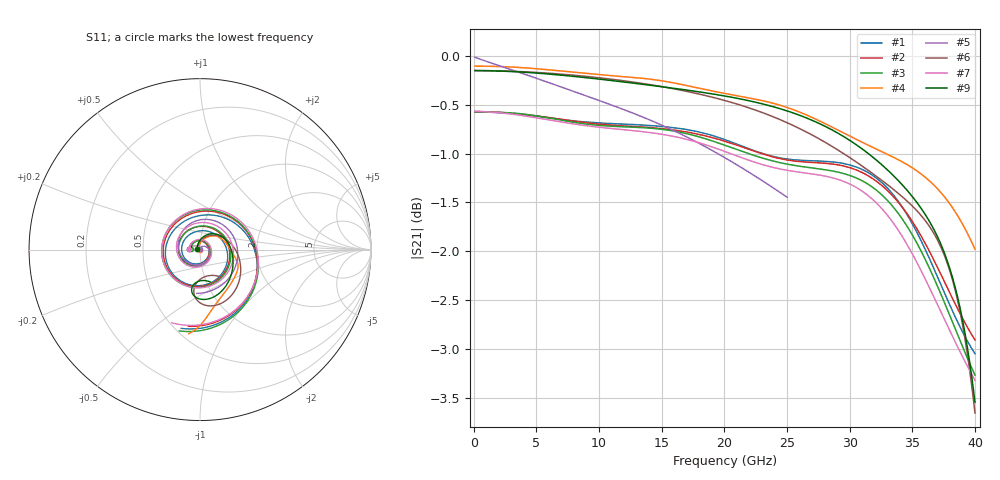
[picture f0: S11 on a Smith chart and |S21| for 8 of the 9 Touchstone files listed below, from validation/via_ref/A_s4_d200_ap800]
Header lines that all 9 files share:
# Hz S RI R 50
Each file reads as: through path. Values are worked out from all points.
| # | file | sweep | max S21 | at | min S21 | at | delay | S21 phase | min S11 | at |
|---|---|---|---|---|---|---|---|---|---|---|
| 1 | cst.s2p | 100 MHz to 40 GHz | -0.57 dB | 200 MHz | -3.1 dB | 40 GHz | 62.6 ps | -84 deg at 20.1 GHz | -26.1 dB | 4.4 GHz |
| 2 | cst_fine.s2p | 100 MHz to 40 GHz | -0.57 dB | 200 MHz | -2.9 dB | 40 GHz | 62.2 ps | -82 deg at 20.1 GHz | -26.1 dB | 4.3 GHz |
| 3 | kisi.s2p | 100 MHz to 40 GHz | -0.57 dB | 100 MHz | -3.3 dB | 40 GHz | 62.7 ps | -85 deg at 20.1 GHz | -25.6 dB | 3.5 GHz |
| 4 | kisi_deembedded.s2p | 100 MHz to 40 GHz | -0.10 dB | 100 MHz | -2.0 dB | 40 GHz | 12.2 ps | -83 deg at 20.1 GHz | -69.2 dB | 100 MHz |
| 5 | kisi_model.s2p | 100 MHz to 25 GHz | -0.01 dB | 100 MHz | -1.4 dB | 25 GHz | 60.1 ps | 90 deg at 12.6 GHz | -58.6 dB | 100 MHz |
| 6 | ladder.s2p | 100 MHz to 40 GHz | -0.15 dB | 100 MHz | -3.7 dB | 40 GHz | 15 ps | -88 deg at 20.1 GHz | -35.5 dB | 100 MHz |
| 7 | openems.s2p | 100 MHz to 40 GHz | -0.57 dB | 100 MHz | -3.3 dB | 40 GHz | 62.9 ps | -87 deg at 20.1 GHz | -24.6 dB | 3.2 GHz |
| 8 | openems_base.s2p | 100 MHz to 40 GHz | -0.57 dB | 100 MHz | -3.8 dB | 40 GHz | 63.2 ps | -88 deg at 20.1 GHz | -25.3 dB | 3.9 GHz |
| 9 | pbm.s2p | 100 MHz to 40 GHz | -0.15 dB | 100 MHz | -3.5 dB | 40 GHz | 14.9 ps | -87 deg at 20.1 GHz | -35.4 dB | 100 MHz |
